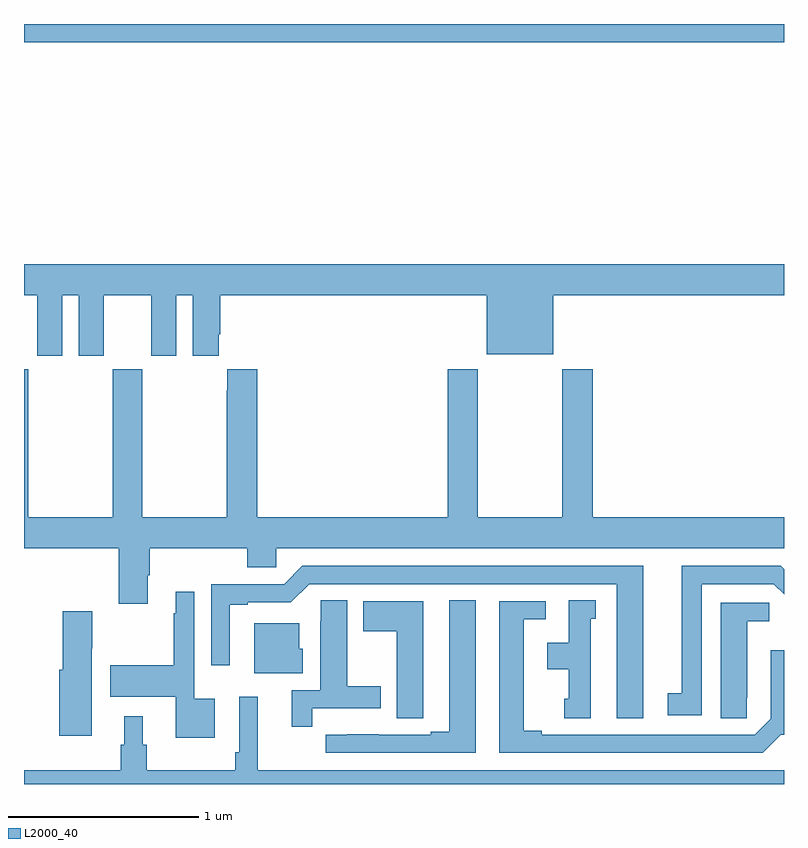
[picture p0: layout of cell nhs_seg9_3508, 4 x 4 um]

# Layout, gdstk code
import gdstk
lib = gdstk.Library(unit=1e-6, precision=1e-09)
def R(c, l, rs):  # rectangles x0, y0, x1, y1
    for r in rs: c.add(gdstk.rectangle(r[:2], r[2:], *l))
def P(c, l, *ps):  # polygons
    for p in ps: c.add(gdstk.Polygon(p, *l))
L2000_40 = (2000, 40)

nhs_seg9_3508 = lib.new_cell('nhs_seg9_3508')
R(nhs_seg9_3508, L2000_40, [(311,1212.404,315,1212.5)])
P(nhs_seg9_3508, L2000_40, [(311.2,1211.072),(311.288,1211.072),(311.288,1210.755),(311.419,1210.755),(311.419,1211.072),(311.669,1211.072),(311.669,1210.755),(311.8,1210.755),(311.8,1211.072),(311.888,1211.072),(311.888,1210.755),(312.025,1210.755),(312.025,1210.867),(312.032,1210.867),(312.032,1211.072),(313.436,1211.072),(313.436,1210.763),(313.786,1210.763),(313.786,1211.072),(315,1211.072),(315,1211.236),(311,1211.236),(311,1211.072),(311.069,1211.072),(311.069,1210.755),(311.2,1210.755)],
  [(311,1210.684),(311,1209.74),(311.498,1209.74),(311.498,1209.45),(311.65,1209.45),(311.65,1209.598),(311.663,1209.598),(311.663,1209.74),(312.176,1209.74),(312.176,1209.642),(312.327,1209.642),(312.327,1209.74),(315,1209.74),(315,1209.904),(313.994,1209.904),(313.994,1210.684),(313.834,1210.684),(313.834,1209.904),(313.389,1209.904),(313.389,1210.684),(313.229,1210.684),(313.229,1209.904),(312.227,1209.904),(312.227,1210.684),(312.071,1210.684),(312.071,1210.571),(312.067,1210.571),(312.067,1209.904),(311.622,1209.904),(311.622,1210.684),(311.467,1210.684),(311.467,1209.904),(311.022,1209.904),(311.022,1210.684)],
  [(314.566,1209.552),(314.946,1209.552),(315,1209.498),(315,1209.63),(314.982,1209.648),(314.462,1209.648),(314.462,1208.978),(314.388,1208.978),(314.388,1208.862),(314.566,1208.862)],
  [(314.26,1209.648),(312.465,1209.648),(312.369,1209.552),(311.985,1209.552),(311.985,1209.126),(312.082,1209.126),(312.082,1209.444),(312.178,1209.444),(312.178,1209.456),(312.405,1209.456),(312.501,1209.552),(314.12,1209.552),(314.12,1208.847),(314.26,1208.847)],
  [(312.004,1208.95),(311.895,1208.95),(311.895,1209.511),(311.798,1209.511),(311.798,1209.398),(311.787,1209.398),(311.787,1209.126),(311.454,1209.126),(311.454,1208.96),(311.798,1208.96),(311.798,1208.744),(312.004,1208.744)],
  [(313.984,1209.369),(314.008,1209.369),(314.008,1209.467),(313.868,1209.467),(313.868,1209.244),(313.754,1209.244),(313.754,1209.104),(313.868,1209.104),(313.868,1208.949),(313.844,1208.949),(313.844,1208.847),(313.984,1208.847)],
  [(312.518,1208.898),(312.877,1208.898),(312.877,1209.015),(312.7,1209.015),(312.7,1209.467),(312.561,1209.467),(312.561,1209.356),(312.56,1209.356),(312.56,1208.994),(312.41,1208.994),(312.41,1208.802),(312.518,1208.802)],
  [(313.378,1209.467),(313.238,1209.467),(313.238,1208.775),(313.142,1208.775),(313.142,1208.76),(312.866,1208.76),(312.866,1208.761),(312.7,1208.761),(312.7,1208.76),(312.588,1208.76),(312.588,1208.664),(313.378,1208.664)],
  [(313.101,1208.953),(313.102,1208.953),(313.102,1209.463),(312.785,1209.463),(312.785,1209.304),(312.962,1209.304),(312.962,1208.845),(313.101,1208.845)],
  [(314.983,1208.76),(315,1208.76),(315,1209.205),(314.931,1209.205),(314.931,1208.844),(314.847,1208.76),(313.726,1208.76),(313.726,1208.78),(313.63,1208.78),(313.63,1209.366),(313.747,1209.366),(313.747,1209.462),(313.502,1209.462),(313.502,1208.664),(314.887,1208.664)],
  [(314.805,1208.953),(314.806,1208.953),(314.806,1209.356),(314.923,1209.356),(314.923,1209.453),(314.666,1209.453),(314.666,1208.845),(314.805,1208.845)],
  [(311.356,1209.214),(311.358,1209.214),(311.358,1209.409),(311.204,1209.409),(311.204,1209.102),(311.186,1209.102),(311.186,1208.754),(311.356,1208.754)],
  [(312.466,1209.213),(312.448,1209.213),(312.448,1209.346),(312.212,1209.346),(312.212,1209.083),(312.466,1209.083)],
  [(315,1208.572),(312.23,1208.572),(312.23,1208.959),(312.132,1208.959),(312.132,1208.668),(312.112,1208.668),(312.112,1208.572),(311.645,1208.572),(311.645,1208.706),(311.626,1208.706),(311.626,1208.857),(311.528,1208.857),(311.528,1208.706),(311.509,1208.706),(311.509,1208.572),(311,1208.572),(311,1208.5),(315,1208.5)])

lib.write_gds('nhs_seg9_3508.gds')
